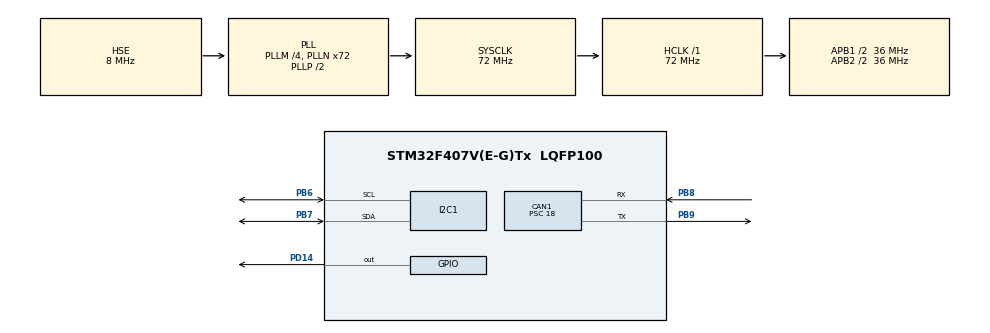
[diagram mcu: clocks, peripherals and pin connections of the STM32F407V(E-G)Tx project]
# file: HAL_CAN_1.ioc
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CAN1.BS1=CAN_BS1_2TQ
CAN1.CalculateBaudRate=500000
CAN1.CalculateTimeBit=2000
CAN1.CalculateTimeQuantum=500.0
CAN1.Prescaler=18
Mcu.Family=STM32F4
Mcu.Name=STM32F407V(E-G)Tx
Mcu.Package=LQFP100
NVIC.CAN1_RX0_IRQn=true\:0\:0\:false\:false\:true\:true\:true\:true
NVIC.PriorityGroup=NVIC_PRIORITYGROUP_0
PB6.Mode=I2C
PB6.Signal=I2C1_SCL
PB7.Mode=I2C
PB7.Signal=I2C1_SDA
PB8.Mode=CAN_Activate
PB8.Signal=CAN1_RX
PB9.Mode=CAN_Activate
PB9.Signal=CAN1_TX
PD14.Signal=GPIO_Output
PH0-OSC_IN.Mode=HSE-External-Oscillator
PH0-OSC_IN.Signal=RCC_OSC_IN
PH1-OSC_OUT.Mode=HSE-External-Oscillator
PH1-OSC_OUT.Signal=RCC_OSC_OUT
ProjectManager.HeapSize=0x200
ProjectManager.StackSize=0x400
ProjectManager.TargetToolchain=STM32CubeIDE
RCC.48MHZClocksFreq_Value=20571428.57142857
RCC.AHBFreq_Value=72000000
RCC.APB1CLKDivider=RCC_HCLK_DIV2
RCC.APB1Freq_Value=36000000
RCC.APB1TimFreq_Value=72000000
RCC.APB2CLKDivider=RCC_HCLK_DIV2
RCC.APB2Freq_Value=36000000
RCC.APB2TimFreq_Value=72000000
RCC.CortexFreq_Value=72000000
RCC.HCLKFreq_Value=72000000
RCC.HSE_VALUE=8000000
RCC.HSI_VALUE=16000000
RCC.LSE_VALUE=32768
RCC.PLLM=4
RCC.PLLN=72
RCC.PLLQ=7
RCC.PLLSourceVirtual=RCC_PLLSOURCE_HSE
RCC.SYSCLKFreq_VALUE=72000000
RCC.SYSCLKSource=RCC_SYSCLKSOURCE_PLLCLK
RCC.VCOOutputFreq_Value=144000000
board=STM32F407G-DISC1

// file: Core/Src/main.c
/* USER CODE BEGIN Header */
/**
  ******************************************************************************
  * @file           : main.c
  * @brief          : Main program body
  ******************************************************************************
  * @attention
  *
  * Copyright (c) 2024 STMicroelectronics.
  * All rights reserved.
  *
  * This software is licensed under terms that can be found in the LICENSE file
  * in the root directory of this software component.
  * If no LICENSE file comes with this software, it is provided AS-IS.
  *
  ******************************************************************************
  */
/* USER CODE END Header */
#include "main.h"

/* USER CODE BEGIN Includes */
#include<stdio.h>
#include<string.h>
#include"lcd16x2_i2c.h"
/* USER CODE END Includes */

CAN_HandleTypeDef hcan1;

I2C_HandleTypeDef hi2c1;

void SystemClock_Config(void);
static void MX_GPIO_Init(void);
static void MX_CAN1_Init(void);
static void MX_I2C1_Init(void);
/* USER CODE BEGIN PFP */
void MotorStart(uint16_t direction);
void MotorStop(void);
void SetMotorSpeed(uint16_t distance);
/* USER CODE END PFP */

/* USER CODE BEGIN 0 */
CAN_RxHeaderTypeDef RxHeader;
uint8_t RxData[8];
uint8_t is_data_received;
uint16_t distance;
uint16_t speed;

void HAL_CAN_RxFifo0MsgPendingCallback(CAN_HandleTypeDef *hcan)
{
	if(HAL_CAN_GetRxMessage(hcan, CAN_RX_FIFO0, &RxHeader, RxData) == HAL_OK)
	{
		// process the message
        if (RxHeader.DLC == 2) {
        	is_data_received = 1;
        }
	}
}

/* USER CODE END 0 */

int main(void)
{

  /* USER CODE BEGIN 1 */

	 char str1[64];
  /* USER CODE END 1 */

  /* MCU Configuration--------------------------------------------------------*/

  /* Reset of all peripherals, Initializes the Flash interface and the Systick. */
  HAL_Init();

  /* Configure the system clock */
  SystemClock_Config();

  /* Initialize all configured peripherals */
  MX_GPIO_Init();
  MX_CAN1_Init();
  MX_I2C1_Init();
  /* USER CODE BEGIN 2 */
  HAL_CAN_Start(&hcan1);
  HAL_CAN_ActivateNotification(&hcan1, CAN_IT_RX_FIFO0_MSG_PENDING);
 // HAL_TIM_PWM_Start(&htim1, TIM_CHANNEL_1);
  /* USER CODE END 2 */

  /* Infinite loop */
  while (1)
  {

    /* USER CODE BEGIN 3 */
	  //HAL_GPIO_WritePin(GPIOE, GPIO_PIN_10, GPIO_PIN_SET);
	  //HAL_GPIO_WritePin(GPIOE, GPIO_PIN_11, GPIO_PIN_RESET);
	 lcd16x2_i2c_init(&hi2c1);
	  if(is_data_received == 1)
	  {
          HAL_GPIO_WritePin(GPIOD, GPIO_PIN_14, GPIO_PIN_SET);
          speed = (uint16_t)RxData[0] << 8 | (uint16_t)RxData[1];

          sprintf(str1, "SPEED : %d  ", speed);
              	lcd16x2_i2c_setCursor(0, 0);
          		lcd16x2_i2c_printf(str1);
          		HAL_Delay(500);

          HAL_GPIO_WritePin(GPIOD, GPIO_PIN_14, GPIO_PIN_RESET);
          HAL_Delay(1000);
	  }
	  is_data_received = 0;
  }
  /* USER CODE END 3 */
}

void SystemClock_Config(void)
{
  RCC_OscInitTypeDef RCC_OscInitStruct = {0};
  RCC_ClkInitTypeDef RCC_ClkInitStruct = {0};

  /** Configure the main internal regulator output voltage
  */
  __HAL_RCC_PWR_CLK_ENABLE();
  __HAL_PWR_VOLTAGESCALING_CONFIG(PWR_REGULATOR_VOLTAGE_SCALE1);

  /** Initializes the RCC Oscillators according to the specified parameters
  * in the RCC_OscInitTypeDef structure.
  */
  RCC_OscInitStruct.OscillatorType = RCC_OSCILLATORTYPE_HSE;
  RCC_OscInitStruct.HSEState = RCC_HSE_ON;
  RCC_OscInitStruct.PLL.PLLState = RCC_PLL_ON;
  RCC_OscInitStruct.PLL.PLLSource = RCC_PLLSOURCE_HSE;
  RCC_OscInitStruct.PLL.PLLM = 4;
  RCC_OscInitStruct.PLL.PLLN = 72;
  RCC_OscInitStruct.PLL.PLLP = RCC_PLLP_DIV2;
  RCC_OscInitStruct.PLL.PLLQ = 7;
  if (HAL_RCC_OscConfig(&RCC_OscInitStruct) != HAL_OK)
  {
    Error_Handler();
  }

  /** Initializes the CPU, AHB and APB buses clocks
  */
  RCC_ClkInitStruct.ClockType = RCC_CLOCKTYPE_HCLK|RCC_CLOCKTYPE_SYSCLK
                              |RCC_CLOCKTYPE_PCLK1|RCC_CLOCKTYPE_PCLK2;
  RCC_ClkInitStruct.SYSCLKSource = RCC_SYSCLKSOURCE_PLLCLK;
  RCC_ClkInitStruct.AHBCLKDivider = RCC_SYSCLK_DIV1;
  RCC_ClkInitStruct.APB1CLKDivider = RCC_HCLK_DIV2;
  RCC_ClkInitStruct.APB2CLKDivider = RCC_HCLK_DIV2;

  if (HAL_RCC_ClockConfig(&RCC_ClkInitStruct, FLASH_LATENCY_2) != HAL_OK)
  {
    Error_Handler();
  }
}

static void MX_CAN1_Init(void)
{

  hcan1.Instance = CAN1;
  hcan1.Init.Prescaler = 18;
  hcan1.Init.Mode = CAN_MODE_NORMAL;
  hcan1.Init.SyncJumpWidth = CAN_SJW_1TQ;
  hcan1.Init.TimeSeg1 = CAN_BS1_2TQ;
  hcan1.Init.TimeSeg2 = CAN_BS2_1TQ;
  hcan1.Init.TimeTriggeredMode = DISABLE;
  hcan1.Init.AutoBusOff = DISABLE;
  hcan1.Init.AutoWakeUp = DISABLE;
  hcan1.Init.AutoRetransmission = DISABLE;
  hcan1.Init.ReceiveFifoLocked = DISABLE;
  hcan1.Init.TransmitFifoPriority = DISABLE;
  if (HAL_CAN_Init(&hcan1) != HAL_OK)
  {
    Error_Handler();
  }
  /* USER CODE BEGIN CAN1_Init 2 */
  CAN_FilterTypeDef FilterConfig;
  //FilterConfig.SlaveStartFilterBank = 9; // CAN1-0 to 8, CAN2-9 to 27
  FilterConfig.FilterActivation = CAN_FILTER_ENABLE;
  FilterConfig.FilterBank = 0; // Use any Filter from 0 to 8
  FilterConfig.FilterScale = CAN_FILTERSCALE_32BIT; // Use a 32-bit filter
  FilterConfig.FilterMode = CAN_FILTERMODE_IDMASK;
  FilterConfig.FilterMaskIdHigh = 0xFF00;
  FilterConfig.FilterMaskIdLow = 0x0000;
  FilterConfig.FilterIdHigh = 0x1500;
  FilterConfig.FilterIdLow = 0x0000;
  FilterConfig.FilterFIFOAssignment = CAN_RX_FIFO0;

  if(HAL_CAN_ConfigFilter(&hcan1, &FilterConfig) != HAL_OK)
	  Error_Handler();
  /* USER CODE END CAN1_Init 2 */

}

static void MX_I2C1_Init(void)
{

  hi2c1.Instance = I2C1;
  hi2c1.Init.ClockSpeed = 100000;
  hi2c1.Init.DutyCycle = I2C_DUTYCYCLE_2;
  hi2c1.Init.OwnAddress1 = 0;
  hi2c1.Init.AddressingMode = I2C_ADDRESSINGMODE_7BIT;
  hi2c1.Init.DualAddressMode = I2C_DUALADDRESS_DISABLE;
  hi2c1.Init.OwnAddress2 = 0;
  hi2c1.Init.GeneralCallMode = I2C_GENERALCALL_DISABLE;
  hi2c1.Init.NoStretchMode = I2C_NOSTRETCH_DISABLE;
  if (HAL_I2C_Init(&hi2c1) != HAL_OK)
  {
    Error_Handler();
  }

}

static void MX_GPIO_Init(void)
{
  GPIO_InitTypeDef GPIO_InitStruct = {0};

  /* GPIO Ports Clock Enable */
  __HAL_RCC_GPIOH_CLK_ENABLE();
  __HAL_RCC_GPIOD_CLK_ENABLE();
  __HAL_RCC_GPIOB_CLK_ENABLE();

  /*Configure GPIO pin Output Level */
  HAL_GPIO_WritePin(GPIOD, GPIO_PIN_14, GPIO_PIN_RESET);

  /*Configure GPIO pin : PD14 */
  GPIO_InitStruct.Pin = GPIO_PIN_14;
  GPIO_InitStruct.Mode = GPIO_MODE_OUTPUT_PP;
  GPIO_InitStruct.Pull = GPIO_NOPULL;
  GPIO_InitStruct.Speed = GPIO_SPEED_FREQ_LOW;
  HAL_GPIO_Init(GPIOD, &GPIO_InitStruct);

}

void Error_Handler(void)
{
  __disable_irq();
  while (1)
  {
  }
}
